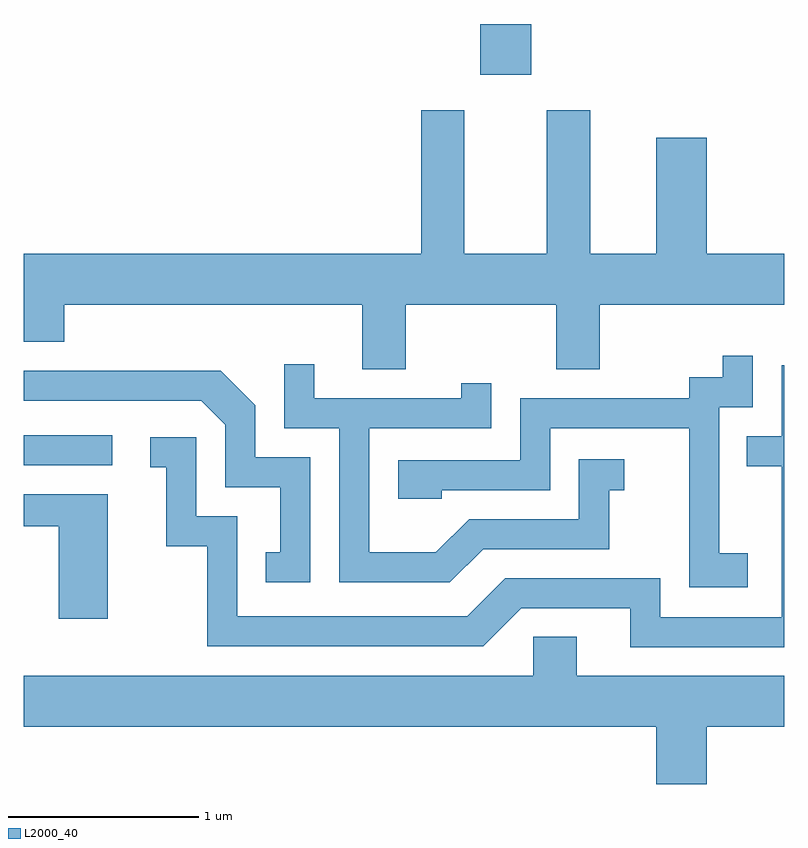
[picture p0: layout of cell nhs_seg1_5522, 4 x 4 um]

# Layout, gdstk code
import gdstk
lib = gdstk.Library(unit=1e-6, precision=1e-09)
def R(c, l, rs):  # rectangles x0, y0, x1, y1
    for r in rs: c.add(gdstk.rectangle(r[:2], r[2:], *l))
def P(c, l, *ps):  # polygons
    for p in ps: c.add(gdstk.Polygon(p, *l))
L2000_40 = (2000, 40)

nhs_seg1_5522 = lib.new_cell('nhs_seg1_5522')
R(nhs_seg1_5522, L2000_40, [(351.611,905.391,352.078,905.549), (354.011,907.446,354.279,907.712)])
P(nhs_seg1_5522, L2000_40, [(353.619,906.236),(354.411,906.236),(354.411,905.896),(354.639,905.896),(354.639,906.236),(355.611,906.236),(355.611,906.504),(355.204,906.504),(355.204,907.114),(354.936,907.114),(354.936,906.504),(354.589,906.504),(354.589,907.259),(354.361,907.259),(354.361,906.504),(353.929,906.504),(353.929,907.259),(353.701,907.259),(353.701,906.504),(351.611,906.504),(351.611,906.041),(351.824,906.041),(351.824,906.236),(353.391,906.236),(353.391,905.896),(353.619,905.896)],
  [(355.419,904.929),(355.269,904.929),(355.269,905.696),(355.444,905.696),(355.444,905.968),(355.286,905.968),(355.286,905.854),(355.111,905.854),(355.111,905.744),(354.221,905.744),(354.221,905.419),(353.581,905.419),(353.581,905.216),(353.809,905.216),(353.809,905.261),(354.379,905.261),(354.379,905.586),(355.111,905.586),(355.111,904.751),(355.419,904.751)],
  [(354.027,904.951),(354.689,904.951),(354.689,905.261),(354.768,905.261),(354.768,905.424),(354.531,905.424),(354.531,905.109),(353.954,905.109),(353.779,904.934),(353.429,904.934),(353.429,905.586),(354.069,905.586),(354.069,905.823),(353.911,905.823),(353.911,905.744),(353.139,905.744),(353.139,905.923),(352.981,905.923),(352.981,905.586),(353.271,905.586),(353.271,904.776),(353.852,904.776)],
  [(355.611,905.919),(355.596,905.919),(355.596,905.544),(355.413,905.544),(355.413,905.386),(355.596,905.386),(355.596,904.594),(354.959,904.594),(354.959,904.799),(354.144,904.799),(353.944,904.599),(352.734,904.599),(352.734,905.124),(352.519,905.124),(352.519,905.539),(352.278,905.539),(352.278,905.381),(352.361,905.381),(352.361,904.966),(352.576,904.966),(352.576,904.441),(354.027,904.441),(354.227,904.641),(354.801,904.641),(354.801,904.436),(355.611,904.436)],
  [(353.119,905.434),(352.829,905.434),(352.829,905.707),(352.647,905.889),(351.611,905.889),(351.611,905.731),(352.544,905.731),(352.671,905.604),(352.671,905.276),(352.961,905.276),(352.961,904.934),(352.883,904.934),(352.883,904.776),(353.119,904.776)],
  [(352.054,905.239),(351.611,905.239),(351.611,905.071),(351.796,905.071),(351.796,904.586),(352.054,904.586)],
  [(355.204,904.016),(355.611,904.016),(355.611,904.284),(354.519,904.284),(354.519,904.489),(354.291,904.489),(354.291,904.284),(351.611,904.284),(351.611,904.016),(354.936,904.016),(354.936,903.716),(355.204,903.716)])

lib.write_gds('nhs_seg1_5522.gds')
